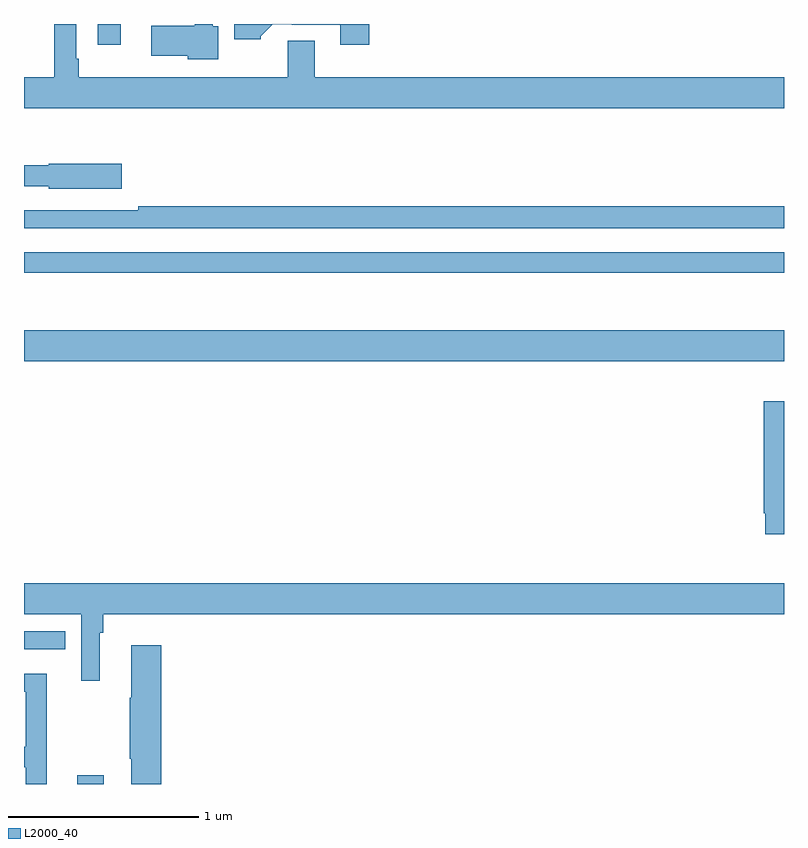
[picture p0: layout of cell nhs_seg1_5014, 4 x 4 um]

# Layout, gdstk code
import gdstk
lib = gdstk.Library(unit=1e-6, precision=1e-09)
def R(c, l, rs):  # rectangles x0, y0, x1, y1
    for r in rs: c.add(gdstk.rectangle(r[:2], r[2:], *l))
def P(c, l, *ps):  # polygons
    for p in ps: c.add(gdstk.Polygon(p, *l))
L2000_40 = (2000, 40)

nhs_seg1_5014 = lib.new_cell('nhs_seg1_5014')
R(nhs_seg1_5014, L2000_40, [(383.279,524.199,383.419,524.245), (383,524.907,383.216,525.003), (383,526.424,387,526.588), (383,526.89,387,526.998), (383.387,528.09,383.509,528.199)])
P(nhs_seg1_5014, L2000_40, [(387,527.92),(384.529,527.92),(384.529,528.11),(384.389,528.11),(384.389,527.92),(383.287,527.92),(383.287,528.016),(383.274,528.016),(383.274,528.199),(383.158,528.199),(383.158,527.92),(383,527.92),(383,527.756),(387,527.756)],
  [(384.022,528.186),(383.994,528.186),(383.994,528.199),(383.898,528.199),(383.898,528.19),(383.67,528.19),(383.67,528.032),(383.862,528.032),(383.862,528.014),(384.022,528.014)],
  [(384.818,528.199),(384.107,528.199),(384.107,528.119),(384.246,528.119),(384.246,528.134),(384.31,528.198),(384.409,528.198),(384.409,528.195),(384.665,528.195),(384.665,528.09),(384.818,528.09)],
  [(383.515,527.463),(383.13,527.463),(383.13,527.455),(383,527.455),(383,527.346),(383.13,527.346),(383.13,527.333),(383.515,527.333)],
  [(387,527.24),(383.602,527.24),(383.602,527.22),(383,527.22),(383,527.124),(387,527.124)],
  [(387,526.213),(386.893,526.213),(386.893,525.625),(386.901,525.625),(386.901,525.513),(387,525.513)],
  [(383.398,524.996),(383.417,524.996),(383.417,525.092),(387,525.092),(387,525.256),(383,525.256),(383,525.092),(383.301,525.092),(383.301,524.742),(383.398,524.742)],
  [(383.723,524.929),(383.564,524.929),(383.564,524.654),(383.557,524.654),(383.557,524.332),(383.564,524.332),(383.564,524.199),(383.723,524.199)],
  [(383.119,524.779),(383,524.779),(383,524.685),(383.009,524.685),(383.009,524.394),(383,524.394),(383,524.286),(383.009,524.286),(383.009,524.199),(383.119,524.199)])

lib.write_gds('nhs_seg1_5014.gds')
